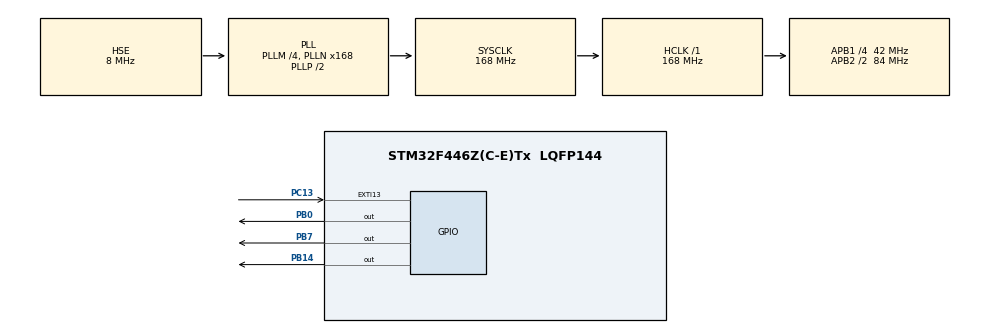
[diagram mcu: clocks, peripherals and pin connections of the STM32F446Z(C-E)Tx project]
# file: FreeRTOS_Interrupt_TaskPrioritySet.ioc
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FREERTOS.Tasks01=defaultTask,24,128,StartDefaultTask,Default,NULL,Dynamic,NULL,NULL
FREERTOS.configUSE_NEWLIB_REENTRANT=1
Mcu.Family=STM32F4
Mcu.Name=STM32F446Z(C-E)Tx
Mcu.Package=LQFP144
NVIC.EXTI15_10_IRQn=true\:5\:0\:false\:false\:true\:true\:true\:true\:true
NVIC.PriorityGroup=NVIC_PRIORITYGROUP_4
NVIC.TIM7_IRQn=true\:15\:0\:false\:false\:true\:false\:false\:true\:true
NVIC.TimeBase=TIM7_IRQn
NVIC.TimeBaseIP=TIM7
PB0.Signal=GPIO_Output
PB14.Signal=GPIO_Output
PB7.Signal=GPIO_Output
PC13.Signal=GPXTI13
PH0-OSC_IN.Mode=HSE-External-Oscillator
PH0-OSC_IN.Signal=RCC_OSC_IN
PH1-OSC_OUT.Mode=HSE-External-Oscillator
PH1-OSC_OUT.Signal=RCC_OSC_OUT
ProjectManager.HeapSize=0x200
ProjectManager.StackSize=0x400
ProjectManager.TargetToolchain=STM32CubeIDE
RCC.AHBFreq_Value=168000000
RCC.APB1CLKDivider=RCC_HCLK_DIV4
RCC.APB1Freq_Value=42000000
RCC.APB1TimFreq_Value=84000000
RCC.APB2CLKDivider=RCC_HCLK_DIV2
RCC.APB2Freq_Value=84000000
RCC.APB2TimFreq_Value=168000000
RCC.CortexFreq_Value=168000000
RCC.HCLKFreq_Value=168000000
RCC.HSE_VALUE=8000000
RCC.PLLM=4
RCC.PLLN=168
RCC.PLLSourceVirtual=RCC_PLLSOURCE_HSE
RCC.SYSCLKFreq_VALUE=168000000
RCC.SYSCLKSource=RCC_SYSCLKSOURCE_PLLCLK
RCC.USBFreq_Value=168000000
RCC.VCOOutputFreq_Value=336000000
VP_FREERTOS_VS_CMSIS_V2.Mode=CMSIS_V2
VP_SYS_VS_tim7.Mode=TIM7
board=custom

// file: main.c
/* USER CODE BEGIN Header */
/**
  ******************************************************************************
  * @file           : main.c
  * @brief          : Main program body
  ******************************************************************************
  * @attention
  *
  * Copyright (c) 2025 STMicroelectronics.
  * All rights reserved.
  *
  * This software is licensed under terms that can be found in the LICENSE file
  * in the root directory of this software component.
  * If no LICENSE file comes with this software, it is provided AS-IS.
  *
  ******************************************************************************
  */
/* USER CODE END Header */
#include "main.h"
#include "cmsis_os.h"

/* USER CODE BEGIN Includes */

#include "FreeRTOS.h"
#include "task.h"

/* USER CODE END Includes */

/* Definitions for defaultTask */
/*osThreadId_t defaultTaskHandle;
const osThreadAttr_t defaultTask_attributes = {
  .name = "defaultTask",
  .stack_size = 128 * 4,
  .priority = (osPriority_t) osPriorityNormal,
};*/
/* USER CODE BEGIN PV */
TaskHandle_t xHandle;
/* USER CODE END PV */

void SystemClock_Config(void);
static void MX_GPIO_Init(void);
void StartDefaultTask(void *argument);

/* USER CODE BEGIN 0 */
void vLed1Task(void * pvParameters){
	TickType_t delay;

	delay = pdMS_TO_TICKS(750);

	for(;;){
		HAL_GPIO_WritePin(GPIOB, GPIO_PIN_0, GPIO_PIN_SET);
		HAL_GPIO_WritePin(GPIOB, GPIO_PIN_7, GPIO_PIN_RESET);
		HAL_GPIO_WritePin(GPIOB, GPIO_PIN_14, GPIO_PIN_RESET);
		vTaskSuspend(NULL);
		vTaskDelay(delay);
	}
}

void vLed2Task(void * pvParameters){
	TickType_t delay;

	delay = pdMS_TO_TICKS(500);
	for(;;){
		HAL_GPIO_WritePin(GPIOB, GPIO_PIN_0, GPIO_PIN_RESET);
		HAL_GPIO_WritePin(GPIOB, GPIO_PIN_7, GPIO_PIN_SET);
		HAL_GPIO_WritePin(GPIOB, GPIO_PIN_14, GPIO_PIN_RESET);
		vTaskDelay(delay);
	}
}

void vLed3Task(void * pvParameters){
	TickType_t delay;

	delay = pdMS_TO_TICKS(250);
	for(;;){
		HAL_GPIO_WritePin(GPIOB, GPIO_PIN_0, GPIO_PIN_RESET);
		HAL_GPIO_WritePin(GPIOB, GPIO_PIN_7, GPIO_PIN_RESET);
		HAL_GPIO_WritePin(GPIOB, GPIO_PIN_14, GPIO_PIN_SET);
		vTaskDelay(delay);
	}
}

/* USER CODE END 0 */

int main(void)
{

  /* MCU Configuration--------------------------------------------------------*/

  /* Reset of all peripherals, Initializes the Flash interface and the Systick. */
  HAL_Init();

  /* Configure the system clock */
  SystemClock_Config();

  /* Initialize all configured peripherals */
  MX_GPIO_Init();
  /* USER CODE BEGIN 2 */

  xTaskCreate(vLed1Task, "Led1", 1000, NULL, 1, &xHandle);
  xTaskCreate(vLed2Task, "Led2", 1000, NULL, 2, NULL);
  xTaskCreate(vLed3Task, "Led3", 1000, NULL, 3, NULL);

  vTaskStartScheduler();

  for(;;);
  /* USER CODE END 2 */

  /* Init scheduler */
  //osKernelInitialize();

  /* Create the thread(s) */
  /* creation of defaultTask */
  //defaultTaskHandle = osThreadNew(StartDefaultTask, NULL, &defaultTask_attributes);

  /* Start scheduler */
  //osKernelStart();

  /* We should never get here as control is now taken by the scheduler */

  /* Infinite loop */
  while (1)
  {

  }
}

void SystemClock_Config(void)
{
  RCC_OscInitTypeDef RCC_OscInitStruct = {0};
  RCC_ClkInitTypeDef RCC_ClkInitStruct = {0};

  /** Configure the main internal regulator output voltage
  */
  __HAL_RCC_PWR_CLK_ENABLE();
  __HAL_PWR_VOLTAGESCALING_CONFIG(PWR_REGULATOR_VOLTAGE_SCALE1);

  /** Initializes the RCC Oscillators according to the specified parameters
  * in the RCC_OscInitTypeDef structure.
  */
  RCC_OscInitStruct.OscillatorType = RCC_OSCILLATORTYPE_HSE;
  RCC_OscInitStruct.HSEState = RCC_HSE_ON;
  RCC_OscInitStruct.PLL.PLLState = RCC_PLL_ON;
  RCC_OscInitStruct.PLL.PLLSource = RCC_PLLSOURCE_HSE;
  RCC_OscInitStruct.PLL.PLLM = 4;
  RCC_OscInitStruct.PLL.PLLN = 168;
  RCC_OscInitStruct.PLL.PLLP = RCC_PLLP_DIV2;
  RCC_OscInitStruct.PLL.PLLQ = 2;
  RCC_OscInitStruct.PLL.PLLR = 2;
  if (HAL_RCC_OscConfig(&RCC_OscInitStruct) != HAL_OK)
  {
    Error_Handler();
  }

  /** Initializes the CPU, AHB and APB buses clocks
  */
  RCC_ClkInitStruct.ClockType = RCC_CLOCKTYPE_HCLK|RCC_CLOCKTYPE_SYSCLK
                              |RCC_CLOCKTYPE_PCLK1|RCC_CLOCKTYPE_PCLK2;
  RCC_ClkInitStruct.SYSCLKSource = RCC_SYSCLKSOURCE_PLLCLK;
  RCC_ClkInitStruct.AHBCLKDivider = RCC_SYSCLK_DIV1;
  RCC_ClkInitStruct.APB1CLKDivider = RCC_HCLK_DIV4;
  RCC_ClkInitStruct.APB2CLKDivider = RCC_HCLK_DIV2;

  if (HAL_RCC_ClockConfig(&RCC_ClkInitStruct, FLASH_LATENCY_5) != HAL_OK)
  {
    Error_Handler();
  }
}

static void MX_GPIO_Init(void)
{
  GPIO_InitTypeDef GPIO_InitStruct = {0};

  /* GPIO Ports Clock Enable */
  __HAL_RCC_GPIOC_CLK_ENABLE();
  __HAL_RCC_GPIOH_CLK_ENABLE();
  __HAL_RCC_GPIOB_CLK_ENABLE();

  /*Configure GPIO pin Output Level */
  HAL_GPIO_WritePin(GPIOB, GPIO_PIN_0|GPIO_PIN_14|GPIO_PIN_7, GPIO_PIN_RESET);

  /*Configure GPIO pin : PC13 */
  GPIO_InitStruct.Pin = GPIO_PIN_13;
  GPIO_InitStruct.Mode = GPIO_MODE_IT_RISING;
  GPIO_InitStruct.Pull = GPIO_NOPULL;
  HAL_GPIO_Init(GPIOC, &GPIO_InitStruct);

  /*Configure GPIO pins : PB0 PB14 PB7 */
  GPIO_InitStruct.Pin = GPIO_PIN_0|GPIO_PIN_14|GPIO_PIN_7;
  GPIO_InitStruct.Mode = GPIO_MODE_OUTPUT_PP;
  GPIO_InitStruct.Pull = GPIO_NOPULL;
  GPIO_InitStruct.Speed = GPIO_SPEED_FREQ_LOW;
  HAL_GPIO_Init(GPIOB, &GPIO_InitStruct);

  /* EXTI interrupt init*/
  HAL_NVIC_SetPriority(EXTI15_10_IRQn, 5, 0);
  HAL_NVIC_EnableIRQ(EXTI15_10_IRQn);

}

void StartDefaultTask(void *argument)
{
  for(;;)
  {
    osDelay(1);
  }
}

void HAL_TIM_PeriodElapsedCallback(TIM_HandleTypeDef *htim)
{
  if (htim->Instance == TIM7)
  {
    HAL_IncTick();
  }
}

void Error_Handler(void)
{
  __disable_irq();
  while (1)
  {
  }
}
